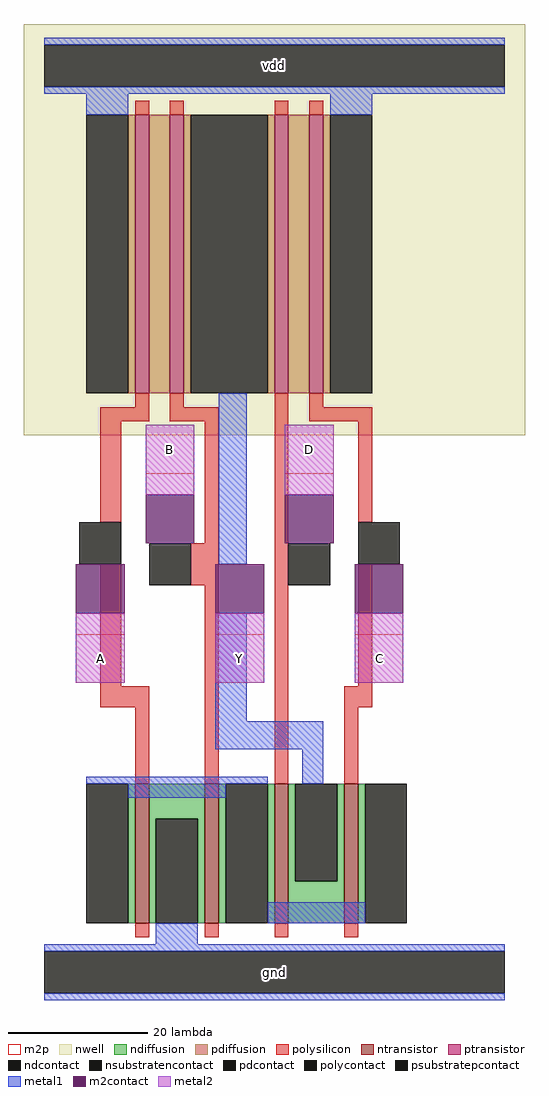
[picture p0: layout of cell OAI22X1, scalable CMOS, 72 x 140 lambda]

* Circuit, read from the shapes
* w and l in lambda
.subckt OAI22X1 A B C D Y vdd gnd
M1 gnd A n1 gnd nfet w=20 l=2
M2 n1 B gnd gnd nfet w=20 l=2
M3 Y D n1 gnd nfet w=20 l=2
M4 n1 C Y gnd nfet w=20 l=2
M5 n2 A vdd vdd pfet w=40 l=2
M6 Y B n2 vdd pfet w=40 l=2
M7 n3 D Y vdd pfet w=40 l=2
M8 vdd C n3 vdd pfet w=40 l=2
.ends

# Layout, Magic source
magic
tech scmos
magscale 1 2
<< nwell >>
rect -12 154 132 272
<< ntransistor >>
rect 20 14 24 54
rect 40 14 44 54
rect 60 14 64 54
rect 80 14 84 54
<< ptransistor >>
rect 20 166 24 246
rect 30 166 34 246
rect 60 166 64 246
rect 70 166 74 246
<< ndiffusion >>
rect 18 14 20 54
rect 24 44 40 54
rect 24 14 26 44
rect 38 14 40 44
rect 44 14 46 54
rect 58 14 60 54
rect 64 26 66 54
rect 78 26 80 54
rect 64 14 80 26
rect 84 14 86 54
<< pdiffusion >>
rect 18 166 20 246
rect 24 166 30 246
rect 34 166 36 246
rect 58 166 60 246
rect 64 166 70 246
rect 74 166 76 246
<< ndcontact >>
rect 6 14 18 54
rect 26 14 38 44
rect 46 14 58 54
rect 66 26 78 54
rect 86 14 98 54
<< pdcontact >>
rect 6 166 18 246
rect 36 166 58 246
rect 76 166 88 246
<< psubstratepcontact >>
rect -6 -6 126 6
<< nsubstratencontact >>
rect -6 254 126 266
<< polysilicon >>
rect 20 246 24 250
rect 30 246 34 250
rect 60 246 64 250
rect 70 246 74 250
rect 20 162 24 166
rect 10 158 24 162
rect 30 162 34 166
rect 30 158 44 162
rect 10 129 16 158
rect 40 123 44 158
rect 10 82 16 117
rect 36 111 44 123
rect 10 76 24 82
rect 20 54 24 76
rect 40 54 44 111
rect 60 54 64 166
rect 70 162 74 166
rect 70 158 88 162
rect 84 129 88 158
rect 84 82 88 117
rect 80 76 88 82
rect 80 54 84 76
rect 20 10 24 14
rect 40 10 44 14
rect 60 10 64 14
rect 80 10 84 14
<< polycontact >>
rect 4 117 16 129
rect 24 111 36 123
rect 64 111 76 123
rect 84 117 96 129
<< metal1 >>
rect -6 266 126 268
rect -6 252 126 254
rect 6 246 18 252
rect 76 246 88 252
rect 44 117 52 166
rect 43 72 52 103
rect 43 64 74 72
rect 6 54 58 56
rect 68 54 74 64
rect 18 50 46 54
rect 58 14 86 20
rect 26 8 38 14
rect -6 6 126 8
rect -6 -8 126 -6
<< m2contact >>
rect 23 123 37 137
rect 3 103 17 117
rect 63 123 77 137
rect 43 103 57 117
rect 83 103 97 117
<< metal2 >>
rect 23 137 37 157
rect 63 137 77 157
rect 3 83 17 103
rect 43 83 57 103
rect 83 83 97 103
<< m2p >>
rect 23 143 37 157
rect 63 143 77 157
rect 3 83 17 97
rect 43 83 57 97
rect 83 83 97 97
<< labels >>
rlabel metal2 3 83 17 97 0 A
port 0 nsew signal input
rlabel metal2 23 143 37 157 0 B
port 1 nsew signal input
rlabel metal2 63 143 77 157 0 D
port 3 nsew signal input
rlabel metal2 83 83 97 97 0 C
port 2 nsew signal input
rlabel metal2 43 83 57 97 0 Y
port 4 nsew signal output
rlabel metal1 -6 252 126 268 0 vdd
port 5 nsew power bidirectional abutment
rlabel metal1 -6 -8 126 8 0 gnd
port 6 nsew ground bidirectional abutment
<< properties >>
string FIXED_BBOX 0 0 120 260
string LEFclass CORE
string LEFsite core
string LEFsymmetry X Y
<< end >>
